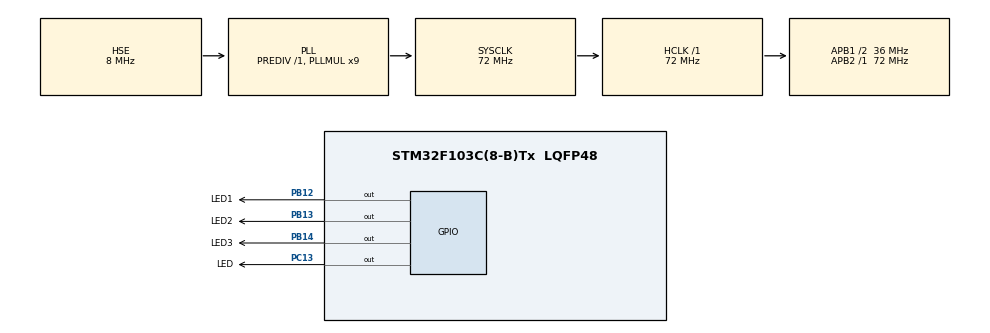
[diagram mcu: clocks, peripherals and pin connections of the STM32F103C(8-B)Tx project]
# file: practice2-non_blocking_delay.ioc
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Mcu.Family=STM32F1
Mcu.Name=STM32F103C(8-B)Tx
Mcu.Package=LQFP48
NVIC.PriorityGroup=NVIC_PRIORITYGROUP_4
PB12.GPIO_Label=LED1
PB12.Signal=GPIO_Output
PB13.GPIO_Label=LED2
PB13.Signal=GPIO_Output
PB14.GPIO_Label=LED3
PB14.Signal=GPIO_Output
PC13-TAMPER-RTC.GPIO_Label=LED
PC13-TAMPER-RTC.Signal=GPIO_Output
PD0-OSC_IN.Mode=HSE-External-Oscillator
PD0-OSC_IN.Signal=RCC_OSC_IN
PD1-OSC_OUT.Mode=HSE-External-Oscillator
PD1-OSC_OUT.Signal=RCC_OSC_OUT
ProjectManager.HeapSize=0x200
ProjectManager.StackSize=0x400
ProjectManager.TargetToolchain=Makefile
RCC.AHBFreq_Value=72000000
RCC.APB1CLKDivider=RCC_HCLK_DIV2
RCC.APB1Freq_Value=36000000
RCC.APB1TimFreq_Value=72000000
RCC.APB2Freq_Value=72000000
RCC.APB2TimFreq_Value=72000000
RCC.HCLKFreq_Value=72000000
RCC.PLLMUL=RCC_PLL_MUL9
RCC.PLLSourceVirtual=RCC_PLLSOURCE_HSE
RCC.SYSCLKFreq_VALUE=72000000
RCC.SYSCLKSource=RCC_SYSCLKSOURCE_PLLCLK
RCC.USBFreq_Value=72000000
VP_SYS_VS_ND.Mode=No_Debug
board=custom

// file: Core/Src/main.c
/* USER CODE BEGIN Header */
/**
  ******************************************************************************
  * @file           : main.c
  * @brief          : Main program body
  ******************************************************************************
  * @attention
  *
  * Copyright (c) 2023 STMicroelectronics.
  * All rights reserved.
  *
  * This software is licensed under terms that can be found in the LICENSE file
  * in the root directory of this software component.
  * If no LICENSE file comes with this software, it is provided AS-IS.
  *
  ******************************************************************************
  */
/* USER CODE END Header */
#include "main.h"

/* USER CODE BEGIN Includes */
#include <stdbool.h>
#include <assert.h>

/* USER CODE END Includes */

/* USER CODE BEGIN PD */
#define LEDS_GPIO_Port GPIOB
#define LEDS_LENGTH 3

/* USER CODE END PD */

void SystemClock_Config(void);
static void MX_GPIO_Init(void);

int main(void)
{
  /* USER CODE BEGIN 1 */
  uint16_t leds_arr[LEDS_LENGTH] = {LED1_Pin, LED2_Pin, LED3_Pin};
  delay_t delay_leds[LEDS_LENGTH];
  tick_t leds_duration[LEDS_LENGTH] = {100, 500, 1000};

  for (size_t i = 0; i < LEDS_LENGTH; i++)
  {
    delay_init(&delay_leds[i], leds_duration[i]);
  }

  /* USER CODE END 1 */

  /* MCU Configuration--------------------------------------------------------*/

  /* Reset of all peripherals, Initializes the Flash interface and the Systick. */
  HAL_Init();

  /* Configure the system clock */
  SystemClock_Config();

  /* Initialize all configured peripherals */
  MX_GPIO_Init();

  /* Infinite loop */
  /* USER CODE BEGIN WHILE */
  while (1)
  {
    for (size_t i = 0; i < LEDS_LENGTH; i++)
    {
      if (delay_read(&delay_leds[i]))
      {
        HAL_GPIO_TogglePin(LEDS_GPIO_Port, leds_arr[i]);
      }
    }

    /* USER CODE END WHILE */

  }
}

void SystemClock_Config(void)
{
  RCC_OscInitTypeDef RCC_OscInitStruct = {0};
  RCC_ClkInitTypeDef RCC_ClkInitStruct = {0};

  /** Initializes the RCC Oscillators according to the specified parameters
  * in the RCC_OscInitTypeDef structure.
  */
  RCC_OscInitStruct.OscillatorType = RCC_OSCILLATORTYPE_HSE;
  RCC_OscInitStruct.HSEState = RCC_HSE_ON;
  RCC_OscInitStruct.HSEPredivValue = RCC_HSE_PREDIV_DIV1;
  RCC_OscInitStruct.HSIState = RCC_HSI_ON;
  RCC_OscInitStruct.PLL.PLLState = RCC_PLL_ON;
  RCC_OscInitStruct.PLL.PLLSource = RCC_PLLSOURCE_HSE;
  RCC_OscInitStruct.PLL.PLLMUL = RCC_PLL_MUL9;
  if (HAL_RCC_OscConfig(&RCC_OscInitStruct) != HAL_OK)
  {
    Error_Handler();
  }

  /** Initializes the CPU, AHB and APB buses clocks
  */
  RCC_ClkInitStruct.ClockType = RCC_CLOCKTYPE_HCLK|RCC_CLOCKTYPE_SYSCLK
                              |RCC_CLOCKTYPE_PCLK1|RCC_CLOCKTYPE_PCLK2;
  RCC_ClkInitStruct.SYSCLKSource = RCC_SYSCLKSOURCE_PLLCLK;
  RCC_ClkInitStruct.AHBCLKDivider = RCC_SYSCLK_DIV1;
  RCC_ClkInitStruct.APB1CLKDivider = RCC_HCLK_DIV2;
  RCC_ClkInitStruct.APB2CLKDivider = RCC_HCLK_DIV1;

  if (HAL_RCC_ClockConfig(&RCC_ClkInitStruct, FLASH_LATENCY_2) != HAL_OK)
  {
    Error_Handler();
  }
}

static void MX_GPIO_Init(void)
{
  GPIO_InitTypeDef GPIO_InitStruct = {0};

  /* GPIO Ports Clock Enable */
  __HAL_RCC_GPIOC_CLK_ENABLE();
  __HAL_RCC_GPIOD_CLK_ENABLE();
  __HAL_RCC_GPIOB_CLK_ENABLE();

  /*Configure GPIO pin Output Level */
  HAL_GPIO_WritePin(LED_GPIO_Port, LED_Pin, GPIO_PIN_RESET);

  /*Configure GPIO pin Output Level */
  HAL_GPIO_WritePin(GPIOB, LED1_Pin|LED2_Pin|LED3_Pin, GPIO_PIN_RESET);

  /*Configure GPIO pin : LED_Pin */
  GPIO_InitStruct.Pin = LED_Pin;
  GPIO_InitStruct.Mode = GPIO_MODE_OUTPUT_PP;
  GPIO_InitStruct.Pull = GPIO_NOPULL;
  GPIO_InitStruct.Speed = GPIO_SPEED_FREQ_LOW;
  HAL_GPIO_Init(LED_GPIO_Port, &GPIO_InitStruct);

  /*Configure GPIO pins : LED1_Pin LED2_Pin LED3_Pin */
  GPIO_InitStruct.Pin = LED1_Pin|LED2_Pin|LED3_Pin;
  GPIO_InitStruct.Mode = GPIO_MODE_OUTPUT_PP;
  GPIO_InitStruct.Pull = GPIO_NOPULL;
  GPIO_InitStruct.Speed = GPIO_SPEED_FREQ_LOW;
  HAL_GPIO_Init(GPIOB, &GPIO_InitStruct);

}

/* USER CODE BEGIN 4 */
/**
  * @brief  Initialize delay data structure.
  * @param delay: pointer to delay data structure
  * @param duration: delay duration in miliseconds
  * @retval None
  */
void delay_init(delay_t* delay, tick_t duration)
{
  assert(delay);

  delay->duration = duration;
  delay->running = false;
}

/**
  * @brief  Check if delay reached duration (start it if not running).
  * @param delay: pointer to delay data structure
  * @retval bool
  */
bool_t delay_read(delay_t* delay)
{
  assert(delay);

  if (!delay->running)
  {
    delay->start_time = HAL_GetTick();
    delay->running = true;
    return false;
  }

  if (delay->duration <= (HAL_GetTick() - delay->start_time))
  {
    delay->running = false;
    return true;
  }

  return false;
}

/**
  * @brief  Change delay data structure duration.
  * @param delay: pointer to delay data structure
  * @param duration: duration in miliseconds to set
  * @retval None
  */
void delay_write(delay_t* delay, tick_t duration)
{
  assert(delay);

  delay->duration = duration;
}

/* USER CODE END 4 */

void Error_Handler(void)
{
  __disable_irq();
  while (1)
  {
  }
}
